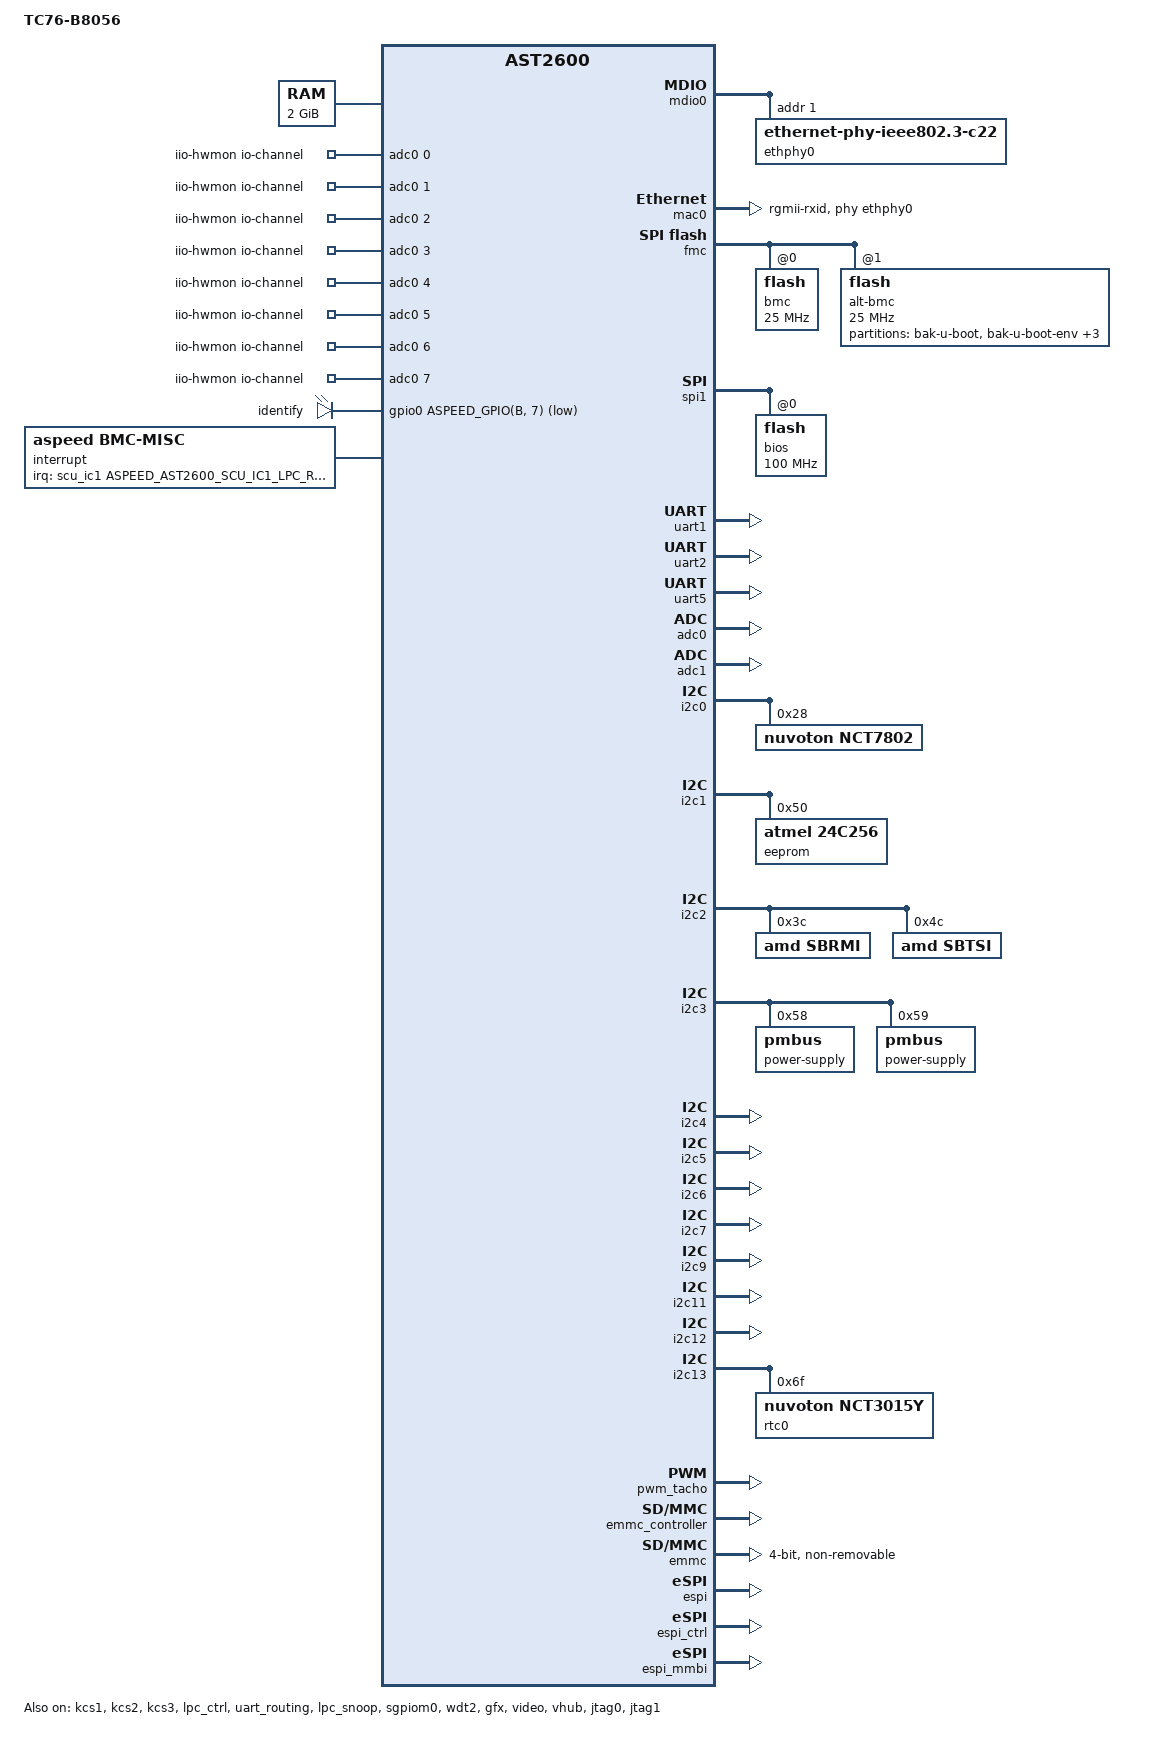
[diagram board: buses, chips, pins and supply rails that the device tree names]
// SPDX-License-Identifier: GPL-2.0-or-later
// Copyright 2019 IBM Corp.

/dts-v1/;

#include "aspeed-g6.dtsi"
#include <dt-bindings/gpio/aspeed-gpio.h>
#include <dt-bindings/i2c/i2c.h>

/ {
	model = "TC76-B8056";
	compatible = "aspeed,ast2600";

	aliases {
        
                serial0 = &uart1;
                serial1 = &uart2;
		serial4 = &uart5;

#if 0
        //pca9641
        i2c16 = &imux16;
        /*
        * 8 child channels of PCA9548 6-0072.
        */
        i2c17 = &imux17;
        i2c18 = &imux18;
        i2c19 = &imux19;
        i2c20 = &imux20;
        i2c21 = &imux21;
        i2c22 = &imux22;
        i2c23 = &imux23;
        i2c24 = &imux24;

        /*
        * 8 child channels of PCA9548 6-0070.
        */
        i2c25 = &imux25;
        i2c26 = &imux26;
        i2c27 = &imux27;
        i2c28 = &imux28;
        i2c29 = &imux29;
        i2c30 = &imux30;
        i2c31 = &imux31;
        i2c32 = &imux32;

        /*
        * 2 child channels of PCA9543 6-0073.
        */
        i2c33 = &imux33;
        i2c34 = &imux34;

        /*
        * 2 child channels of PCA9543 6-0072.
        */
        i2c35 = &imux35;
        i2c36 = &imux36;
#endif
	};

	chosen {
		bootargs = "console=ttyS4,115200n8 root=/dev/ram rw earlyprintk vmalloc=1G";
	};

	memory@80000000 {
		device_type = "memory";
		reg = <0x80000000 0x80000000>;
	};

	reserved-memory {
			#address-cells = <1>;
			#size-cells = <1>;
			ranges;

			gfx_memory: framebuffer {
					size = <0x01000000>;
					alignment = <0x01000000>;
					compatible = "shared-dma-pool";
					reusable;
			};
			video_engine_memory: video {
					size = <0x04000000>;
					alignment = <0x01000000>;
					compatible = "shared-dma-pool";
					reusable;
			};

			ramoops@fb000000 {
				compatible = "ramoops";
				reg = <0xfb000000 0x30000>;
				record-size = <0x10000>;
				console-size = <0x10000>;
				pmsg-size = <0x10000>;
				max-reason = <3>;
			};
	};

    iio-hwmon {
		compatible = "iio-hwmon";
		io-channels = <&adc0 0>, <&adc0 1>, <&adc0 2>, <&adc0 3>,
				<&adc0 4>, <&adc0 5>, <&adc0 6>, <&adc0 7>,
				<&adc1 0>, <&adc1 1>, <&adc1 2>, <&adc1 3>,
				<&adc1 4>, <&adc1 5>, <&adc1 6>, <&adc1 7>;
	};

        leds {
            compatible = "gpio-leds";

            identify {
                gpios = <&gpio0 ASPEED_GPIO(B, 7) GPIO_ACTIVE_LOW>;
            };
#if 0
            identify_pdb_node1 {
                gpios = <&pca9538_1 3 GPIO_ACTIVE_HIGH>;
            };
            identify_pdb_node2 {
                gpios = <&pca9538_2 4 GPIO_ACTIVE_HIGH>;
            };
            sys_fault {
                gpios = <&gpio0 ASPEED_GPIO(X, 4) GPIO_ACTIVE_HIGH>;

            };
#endif
        };

};

&kcs1 {
    status = "okay";
    aspeed,lpc-io-reg = <0xCA0>;
};

&kcs2 {

    status = "okay";
    aspeed,lpc-io-reg = <0xCA8>;
};

&kcs3 {
    status = "okay";
    aspeed,lpc-io-reg = <0xCA2>;
};

&lpc_ctrl {
	status = "okay";
};

&uart_routing {
    status = "okay";
};

&lpc_snoop {
    snoop-ports = <0x80 0x81>;
    status = "okay";
};

&mdio0 {
    status = "okay";

    ethphy0: ethernet-phy@1 {
        compatible = "ethernet-phy-ieee802.3-c22";
        reg = <1>;
    };
};

&mac0 {
    status = "okay";

    phy-mode = "rgmii-rxid";
    phy-handle = <&ethphy0>;

    pinctrl-names = "default";
    pinctrl-0 = <&pinctrl_rgmii1_default>;
};

&fmc {
    status = "okay";
    flash@0 {
        status = "okay";
        m25p,fast-read;
        label = "bmc";
        spi-max-frequency = <25000000>;
#include "openbmc-flash-layout-64.dtsi"
	};

    flash@1 {
        status = "okay";
        m25p,fast-read;
        label = "alt-bmc";
        spi-max-frequency = <25000000>;
        partitions {
            compatible = "fixed-partitions";
            #address-cells = <1>;
            #size-cells = <1>;

            u-boot@0 {
                reg = <0x0 0xe0000>; // 896KB
                label = "bak-u-boot";
            };

            u-boot-env@e0000 {
                reg = <0xe0000 0x20000>; // 128KB
                label = "bak-u-boot-env";
            };

            kernel@100000 {
                reg = <0x100000 0x900000>; // 9MB
                label = "bak-kernel";
            };

            rofs@a00000 {
                reg = <0xa00000 0x2000000>; // 32MB
                label = "bak-rofs";
            };

            rwfs@2a00000 {
                reg = <0x2a00000 0x1600000>; // 22MB
                label = "bak-rwfs";
            };
        };
    };
};

&spi1 {
	status = "okay";
	pinctrl-names = "default";
	pinctrl-0 = <&pinctrl_spi1_default>;

	flash@0 {
		status = "okay";
		m25p,fast-read;
		label = "bios";
		spi-max-frequency = <100000000>;
	};
};

&uart1 {
	status = "okay";
};

&uart2 {
	status = "okay";
};

&uart5 {
	status = "okay";
};

&adc0 {
	aspeed,int-vref-microvolt = <2500000>;
	status = "okay";

	pinctrl-names = "default";
	pinctrl-0 = <&pinctrl_adc0_default &pinctrl_adc1_default
		&pinctrl_adc2_default &pinctrl_adc3_default
		&pinctrl_adc4_default &pinctrl_adc5_default
		&pinctrl_adc6_default &pinctrl_adc7_default>;
};

&adc1 {
	aspeed,int-vref-microvolt = <2500000>;
	status = "okay";

	pinctrl-names = "default";
	pinctrl-0 = <&pinctrl_adc8_default &pinctrl_adc9_default
		&pinctrl_adc10_default &pinctrl_adc11_default
		&pinctrl_adc12_default &pinctrl_adc13_default
		&pinctrl_adc14_default &pinctrl_adc15_default>;
};

&i2c0 {
    status = "okay";
    /* Hardware monitor with temperature sensors */
	nct7802@28 {
		compatible = "nuvoton,nct7802";
		reg = <0x28>;
		#address-cells = <1>;
		#size-cells = <0>;

		channel@0 { /* LTD */
			reg = <0>;
			status = "okay";
		};

		channel@1 { /* RTD1 */
			reg = <1>;
			status = "okay";
			sensor-type = "temperature";
			temperature-mode = "thermistor";
		};

		channel@2 { /* RTD2 */
			reg = <2>;
			status = "okay";
			sensor-type = "temperature";
			temperature-mode = "thermistor";
		};

		channel@3 { /* RTD3 */
			reg = <3>;
			status = "okay";
			sensor-type = "temperature";
		};
    };
};

&i2c1 {
    status = "okay";
#if 0
    tmp75@48 {
        compatible = "ti,tmp75";
        reg = <0x48>;
    };
#endif
    eeprom@50 {
        compatible = "atmel,24c256";
        reg = <0x50>;
        pagesize = <32>;
    };
};

&i2c2 {
    status = "okay";
    sbrmi@3c {
        compatible = "amd,sbrmi";
        reg = <0x3c>;
    };
    sbtsi@4c {
        compatible = "amd,sbtsi";
        reg = <0x4c>;
    };
};

&i2c3 {
    status = "okay";
    power-supply@58 {
        compatible = "pmbus";
        reg = <0x58>;
    };
    power-supply@59 {
        compatible = "pmbus";
        reg = <0x59>;
    };
};

&i2c4 {
    status = "okay";
#if 0
    eeprom@50 {
        compatible = "atmel,24c256";
        reg = <0x50>;
        pagesize = <32>;
    };
#endif
};

&i2c5 {
    status = "okay";
};

&i2c6 {
    status = "okay";
#if 0
    i2c-switch@70 {
        compatible = "nxp,pca9548";
        #address-cells = <1>;
        #size-cells = <0>;
        reg = <0x70>;
        i2c-mux-idle-disconnect;

        imux17: i2c@0 {
                #address-cells = <1>;
                #size-cells = <0>;
                reg = <0>;
                paddle-card@48 {
                    compatible = "ti,tmp75";
                    reg = <0x48>;
                };
                paddle-card-fru@50 {
                    compatible = "atmel,24c02";
                    reg = <0x50>;
                    pagesize = <16>;
                };
        };

        imux18: i2c@1 {
                #address-cells = <1>;
                #size-cells = <0>;
                reg = <1>;
                paddle-card@48 {
                    compatible = "ti,tmp75";
                    reg = <0x48>;
                };
                paddle-card-fru@50 {
                    compatible = "atmel,24c02";
                    reg = <0x50>;
                    pagesize = <16>;
                };
        };

        imux19: i2c@2 {
                #address-cells = <1>;
                #size-cells = <0>;
                reg = <2>;
                paddle-card@48 {
                    compatible = "ti,tmp75";
                    reg = <0x48>;
                };
                paddle-card-fru@50 {
                    compatible = "atmel,24c02";
                    reg = <0x50>;
                    pagesize = <16>;
                };
        };

        imux20: i2c@3 {
                #address-cells = <1>;
                #size-cells = <0>;
                reg = <3>;
                paddle-card@48 {
                    compatible = "ti,tmp75";
                    reg = <0x48>;
                };
                paddle-card-fru@50 {
                    compatible = "atmel,24c02";
                    reg = <0x50>;
                    pagesize = <16>;
                };
        };

        imux21: i2c@4 {
                #address-cells = <1>;
                #size-cells = <0>;
                reg = <4>;
        };

        imux22: i2c@5 {
                #address-cells = <1>;
                #size-cells = <0>;
                reg = <5>;
        };

        imux23: i2c@6 {
                #address-cells = <1>;
                #size-cells = <0>;
                reg = <6>;
        };

        imux24: i2c@7 {
                #address-cells = <1>;
                #size-cells = <0>;
                reg = <7>;
        };
    };

    i2c-switch@71 {
        compatible = "nxp,pca9548";
        #address-cells = <1>;
        #size-cells = <0>;
        reg = <0x71>;
        i2c-mux-idle-disconnect;

        imux25: i2c@0 {
                #address-cells = <1>;
                #size-cells = <0>;
                reg = <0>;
                nic-fru@50 {
                    compatible = "atmel,24c256";
                    reg = <0x50>;
                    pagesize = <32>;
                };
        };

        imux26: i2c@1 {
                #address-cells = <1>;
                #size-cells = <0>;
                reg = <1>;
        };

        imux27: i2c@2 {
                #address-cells = <1>;
                #size-cells = <0>;
                reg = <2>;
        };

        imux28: i2c@3 {
                #address-cells = <1>;
                #size-cells = <0>;
                reg = <3>;
        };

        imux29: i2c@4 {
                #address-cells = <1>;
                #size-cells = <0>;
                reg = <4>;
        };

        imux30: i2c@5 {
                #address-cells = <1>;
                #size-cells = <0>;
                reg = <5>;
                nct7904@2e {
                    compatible = "nuvoton,nct7904";
                    reg = <0x2e>;
                    voltage-control-register = <0xFFFF15>;
                    volt-temp-mode-control-register= <0xFF>;
                };
        };

        imux31: i2c@6 {
                #address-cells = <1>;
                #size-cells = <0>;
                reg = <6>;
        };

        imux32: i2c@7 {
                #address-cells = <1>;
                #size-cells = <0>;
                reg = <7>;
        };
    };

    i2c-switch@72 {
        compatible = "nxp,pca9543";
        #address-cells = <1>;
        #size-cells = <0>;
        reg = <0x72>;
        i2c-mux-idle-disconnect;

        imux35: i2c@0 {
                #address-cells = <1>;
                #size-cells = <0>;
                reg = <0>;
                gpu@4f {
                    compatible = "nvidai,a100";
                    reg = <0x4f>;
                };
        };

        imux36: i2c@1 {
                #address-cells = <1>;
                #size-cells = <0>;
                reg = <1>;
                front-riser-fru@56 {
                    compatible = "atmel,24c02";
                    reg = <0x56>;
                    pagesize = <32>;
                };
                tmp75@4f {
                    compatible = "ti,tmp75";
                    reg = <0x4f>;
                };
        };
    };

    i2c-switch@73 {
        compatible = "nxp,pca9543";
        #address-cells = <1>;
        #size-cells = <0>;
        reg = <0x73>;
        i2c-mux-idle-disconnect;

        imux33: i2c@0 {
                #address-cells = <1>;
                #size-cells = <0>;
                reg = <0>;
                gpu@4f {
                    compatible = "nvidai,a100";
                    reg = <0x4f>;
                };
        };

        imux34: i2c@1 {
                #address-cells = <1>;
                #size-cells = <0>;
                reg = <1>;
                rear-riser-fru@56 {
                    compatible = "atmel,24c02";
                    reg = <0x56>;
                    pagesize = <32>;
                };
                tmp75@4f {
                    compatible = "ti,tmp75";
                    reg = <0x4f>;
                };
        };
    };
#endif
};

&i2c7 {
    status = "okay";
#if 0
    pca9641@70 {
            compatible = "nxp,pca9641";
            reg = <0x70>;
            imux16: i2c-arb {
                    nct7362@22 {
                        compatible = "nuvoton,nct7362";
                        pin-func-config = <0xA28A4041>;
                        interrupt-config = <0x0100>;
                        pwm-enable = <0x0089>;
                        fanin-enable = <0x00db80>;
                        fanin0-threshold = <0x2a06>;
                        fanin3-threshold = <0x2a06>;
                        fanin6-threshold = <0x2a06>;
                        reg = <0x22>;
                    };
                    nct7362@23 {
                        compatible = "nuvoton,nct7362";
                        pin-func-config = <0xA28A4041>;
                        interrupt-config = <0x0100>;
                        pwm-enable = <0x0089>;
                        fanin-enable = <0x00db80>;
                        fanin0-threshold = <0x2a06>;
                        fanin3-threshold = <0x2a06>;
                        fanin6-threshold = <0x2a06>;
                        reg = <0x23>;
                    };
                    pdb-fru@57 {
                        compatible = "atmel,24c02";
                        reg = <0x57>;
                        pagesize = <16>;
                    };
                    gpio@38 {
                        compatible = "nxp,pca9534";
                        reg = <0x38>;
                        gpio-controller;
                        #gpio-cells = <2>;
                        gpio-line-names = "FAN1_PRSNT", "FAN2_PRSNT", "FAN3_PRSNT", "PWR_ALERT_1",
                                          "FAN1_STATE", "FAN2_STATE", "FAN3_STATE", "FANCTRL1_FAIL";
                    };
                    gpio@39 {
                        compatible = "nxp,pca9534";
                        reg = <0x39>;
                        gpio-controller;
                        #gpio-cells = <2>;
                        gpio-line-names = "FAN4_PRSNT", "FAN5_PRSNT", "FAN6_PRSNT", "PWR_ALERT_2",
                                          "FAN4_STATE", "FAN5_STATE", "FAN6_STATE", "FANCTRL2_FAIL";
                    };
                    pca9538_1: gpio@71 {
                        compatible = "nxp,pca9538";
                        reg = <0x71>;
                        gpio-controller;
                        #gpio-cells = <2>;
                        gpio-line-names = "FAN1_EN", "FAN2_EN", "FAN3_EN", "NODE1_IDLED",
                                          "FAN3_FAULT_LED", "FAN2_FAULT_LED","FAN1_FAULT_LED",
                                          "VR_P48V_1_RESTART";
                    };
                    pca9538_2: gpio@72 {
                        compatible = "nxp,pca9538";
                        reg = <0x72>;
                        gpio-controller;
                        #gpio-cells = <2>;
                        gpio-line-names = "VR_P48V_2_RESTART",
                                          "FAN4_FAULT_LED", "FAN5_FAULT_LED", "FAN6_FAULT_LED",
                                          "NODE2_IDLED", "FAN6_EN", "FAN5_EN", "FAN4_EN";
                    };
                    dc-module-node-1@60 {
                        compatible = "MiTAC,mct-pdb";
                        reg = <0x60>;
                    };
                    dc-module-node-2@61 {
                        compatible = "MiTAC,mct-pdb";
                        reg = <0x61>;
                    };
                    hot-swap-node-1@10 {
                        compatible = "adm1272";
                        reg = <0x10>;
                        shunt-resistor-micro-ohms = <500>;
                    };
                    hot-swap-node-2@12 {
                        compatible = "adm1272";
                        reg = <0x12>;
                        shunt-resistor-micro-ohms = <500>;
                    };
                    ina226-node1@45 {
                        compatible = "ti,ina226";
                        reg = <0x45>;
                        shunt-resistor = <1000>;
                    };
                    ina226-node2@44 {
                        compatible = "ti,ina226";
                        reg = <0x44>;
                        shunt-resistor = <1000>;
                    };

            };
    };
#endif
};

#if 0
&i2c8 {
    status = "okay";
};
#endif

&i2c9 {
    status = "okay";
};

#if 0
&i2c10 {
    status = "okay";
    /* Left Node - Node 1 */
    ipmb@18 {
        compatible = "ipmb-dev";
        reg = <0x18>;
        i2c-protocol;
        gpios = <&gpio0 ASPEED_GPIO(Y, 2) GPIO_ACTIVE_HIGH>;
    };
    /* Right Node - Node 2 */
    ipmb@19 {
        compatible = "ipmb-dev";
        reg = <0x19>;
        i2c-protocol;
        gpios = <&gpio0 ASPEED_GPIO(Y, 2) GPIO_ACTIVE_LOW>;
    };
};
#endif

&i2c11 {
    status = "okay";
};

&i2c12 {
    status = "okay";
};

&i2c13 {
    status = "okay";
        rtc0: rtc@6f {
            compatible = "nuvoton,nct3015y";
            reg = <0x6f>;
            #clock-cells = <0>;
        };
};

#if 0
&i2c14 {
    status = "okay";
};

&i2c15 {
    status = "okay";
};
#endif

&pwm_tacho {
	status = "okay";
	pinctrl-names = "default";
	pinctrl-0 = <&pinctrl_pwm0_default &pinctrl_tach0_default
			&pinctrl_pwm1_default &pinctrl_tach1_default
			&pinctrl_pwm2_default &pinctrl_tach2_default
			&pinctrl_pwm3_default &pinctrl_tach3_default
			&pinctrl_pwm4_default &pinctrl_tach4_default
			&pinctrl_pwm5_default &pinctrl_tach5_default
			&pinctrl_pwm6_default &pinctrl_tach6_default
			&pinctrl_pwm7_default &pinctrl_tach7_default>;

	fan@0 {
		reg = <0x00>;
		aspeed,pwm-freq-hz = <25000>;
		aspeed,falling-point = /bits/ 8 <100>;
		cooling-levels = /bits/ 8 <125 151 177 203 229 255>;
		fan-tach-ch = /bits/ 8 <0x00>;
		aspeed,tacho-div = <3>;
		pulses-per-revolution = <1>;
	};

	fan@1 {
		reg = <0x01>;
		aspeed,pwm-freq-hz = <25000>;
		aspeed,falling-point = /bits/ 8 <100>;
		cooling-levels = /bits/ 8 <125 151 177 203 229 255>;
		fan-tach-ch = /bits/ 8 <0x01>;
		pulses-per-revolution = <1>;
	};

	fan@2 {
		reg = <0x02>;
		aspeed,pwm-freq-hz = <25000>;
		cooling-levels = /bits/ 8 <125 151 177 203 229 255>;
		fan-tach-ch = /bits/ 8 <0x02>;
		pulses-per-revolution = <2>;
	};

	fan@3 {
		reg = <0x03>;
		aspeed,pwm-freq-hz = <25000>;
		cooling-levels = /bits/ 8 <125 151 177 203 229 255>;
		fan-tach-ch = /bits/ 8 <0x03>;
		pulses-per-revolution = <2>;
	};

	fan@4 {
		reg = <0x04>;
		aspeed,pwm-freq-hz = <25000>;
		cooling-levels = /bits/ 8 <125 151 177 203 229 255>;
		fan-tach-ch = /bits/ 8 <0x04>;
		pulses-per-revolution = <2>;
	};

	fan@5 {
		reg = <0x05>;
		aspeed,pwm-freq-hz = <25000>;
		cooling-levels = /bits/ 8 <125 151 177 203 229 255>;
		fan-tach-ch = /bits/ 8 <0x05>;
		pulses-per-revolution = <2>;
	};

	fan@6 {
		reg = <0x06>;
		aspeed,pwm-freq-hz = <25000>;
		cooling-levels = /bits/ 8 <125 151 177 203 229 255>;
		fan-tach-ch = /bits/ 8 <0x06>;
		pulses-per-revolution = <2>;
	};

	fan@7 {
		reg = <0x07>;
		aspeed,pwm-freq-hz = <25000>;
		cooling-levels = /bits/ 8 <125 151 177 203 229 255>;
		fan-tach-ch = /bits/ 8 <0x07>;
		pulses-per-revolution = <2>;
	};

};

&emmc_controller {
    status = "okay";
};

&emmc {
    non-removable;
    bus-width = <4>;
    max-frequency = <100000000>;
};

&espi {
    status = "okay";
};

&espi_ctrl {
    status = "okay";
    perif,memcyc-enable;
    perif,memcyc-src-addr = <0x98000000>;
    perif.memcyc-size = <0x10000>;
    perif,dma-mode;
    oob,dma-mode;
    oob,dma-tx-desc-num = <2>;
    oob,dma-rx-desc-num = <8>;
    flash,dma-mode;
    flash,safs-mode = <0x2>;
};

&espi_mmbi {
    status = "okay";
};

&gpio0 {
    status = "okay";
    gpio-line-names =
    /*A0-A7*/   "","","","","","","","",
    /*B0-B7*/   "","","","","","","BMC_INIT","",
    /*C0-C7*/   "","","","","","LED_PROCHOT_N","","",
    /*D0-D7*/   "","","","SPI_MUX_BIOS","","","","",
    /*E0-E7*/   "FP_LOCK","TPM_MUX_OE","","","","","","",
    /*F0-F7*/   "","","","","","","","",
    /*G0-G7*/   "FM_BMC_JTAG_XDP_SEL","FM_BMC_READY","FM_FP_LED_STATUS_GREEN_BMC_N","","ID_BTN_IN","PS_PWROK","","BMC_PRESENT_R_N",
    /*H0-H7*/   "","","","","SYS_PLTRST","","","CLEAR_CMOS",
    /*I0-I7*/   "JTAG_TRST_N","","","","","FM_BMC_UPDATE_CPLD_SMB_OPTION","NC_BMC_GPIOI6","BIOS_SELECT",
    /*J0-J7*/   "","","","","","","","",
    /*K0-K7*/   "","","","","","","","",
    /*L0-L7*/   "GPIOL0_SCL9","FM_BMC_JTAG_CTL_R","","","BMC_CPU_PREQ_N","","","",
    /*M0-M7*/   "","","","","","","","",
    /*N0-N7*/   "","","","","","","","",
    /*O0-O7*/   "","","","","","","","",
    /*P0-P7*/   "RESET_BUTTON","RSTBTN_OUT","POWER_BUTTON","PWRBTN_OUT","FP_NMI_BTN_N","FM_FP_NMI_BTN_R_N","","HEARTBEAT_LED",
    /*Q0-Q7*/   "","","","","","","","",
    /*R0-R7*/   "PSP_SOFT_FUSE_NOTIFY","","","","","","","",
    /*S0-S7*/   "","","G_CONN_PCIE_WAKE_L","","HDT_DBREQ_L","VBAT_EN","","",
    /*T0-T7*/   "","","","","","","","",
    /*U0-U7*/   "","","","","","","","",
    /*V0-V7*/   "FM_SLPS3_R_N","FM_SLPS5_R_N","FAULT_LED","","","","SYS_PWR_GOOD","PWM_SET_COMPLETE",
    /*W0-W7*/   "","","","","","","","",
    /*X0-X7*/   "","CPU0_THERMAL_TRIP","","P0_SPI_ROM_PROG_L","","","","FM_SPI_BMC_PCH_MASTER_SEL",
    /*Y0-Y7*/   "BMC_CPU_PRDY_R_N","","","","","","","",
    /*Z0-Z7*/   "","POST_COMPLETE","","","","","SPI1_BMC_IO2_R","SPI1_BMC_IO3_R",
    /*AA0-AA7*/ "","","","","","","","",
    /*AB0-AB7*/ "","","","","","","NCSI_X710_OCP","",
    /*AC0-AC7*/ "","HPM_STBY_RST_L","","","SCM_ROT_CPU_RST_L","","","";
};

&sgpiom0 {
    status = "okay";
    ngpios = <80>;

    /* SGPIO lines. even: input, odd: output */
    gpio-line-names =
    /*A0-A7*/       "","","","","","","","","","","","","","","","",
    /*B0-B7*/       "","","","","","","","","","","","","","","","",
    /*C0-C7*/       "","","","","","CLR_CMOS","","","","","","","","","","",
    /*D0-D7*/       "","","","","","","","","","","","","","","","",
    /*E0-E7*/       "","","","","","","","","","","","","","","","",
    /*F0-F7*/       "","","","","","","","","","","","","","","","",
    /*G0-G7*/       "","","","","","","","","","","","","POST_START","","","",
    /*H0-H7*/       "","","","","","","","","","","","","","","FM_CPU0_THERMTRIP_R_N","",
    /*I0-I7*/       "","","FM_NODE_ID","","FM_NODE_PRSNT","","","","","","ROT_DETECT_N","","","","","",
    /*J0-J7*/       "","","","","","","","","","","","","","","","";
};

&wdt2 {
    status = "okay";
};

&gfx {
    status = "okay";
    memory-region = <&gfx_memory>;
};

&video {
    status = "okay";
    memory-region = <&video_engine_memory>;
};

&vhub {
    status = "okay";
};

&jtag0 {
    status = "okay";
};

&jtag1 {
    status = "okay";
};

&lpc {
    interrupt {
        status = "okay";
        compatible = "aspeed,bmc-misc";
        interrupts-extended = <&scu_ic1 ASPEED_AST2600_SCU_IC1_LPC_RESET_HI_TO_LO>;
        lpc-rst {
            offset = <0x08>;
            bit-mask = <1>;
            bit-shift = <6>;
        };
    };
};
